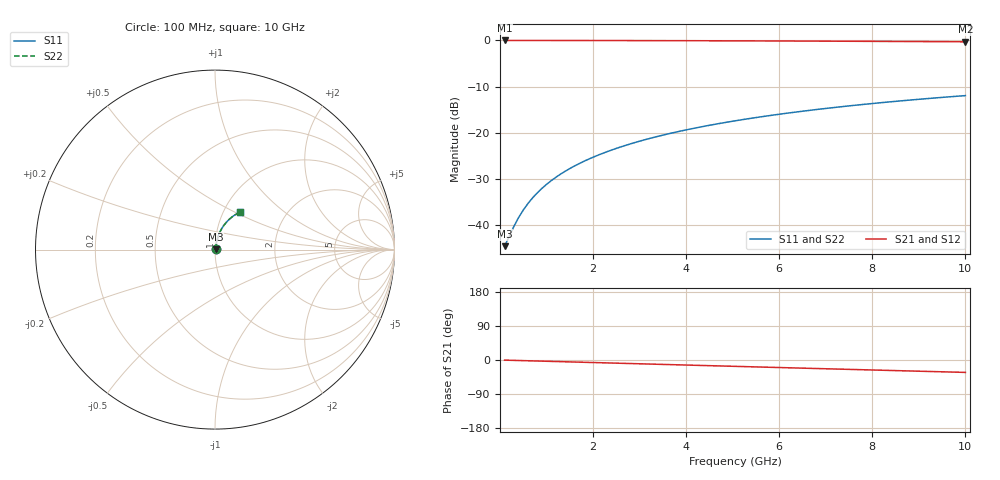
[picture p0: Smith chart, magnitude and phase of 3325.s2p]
# Hz S RI R 50.00
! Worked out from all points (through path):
!   100 points, 100 MHz to 10 GHz, reference 50 ohm
!   highest |S21| = -0.05 dB at 100 MHz (marker M1); lowest = -0.3 dB at 10 GHz (marker M2)
!   group delay of S21, straight-line fit = 9.1 ps
!   lowest |S11| = -44.5 dB at 100 MHz (marker M3), VSWR 1.01, Z = 50.5 + j0.272 ohm
!   |S11| at or under -10 dB: start of sweep to end of sweep
!   |S22| runs from -44.5 to -12.0 dB; largest |S21 - S12| = 0
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1e8  0.00532 0.00269  0.9947 -0.00579  0.9947 -0.00579  0.00532 0.00269
3e8  0.0055 0.00806  0.9944 -0.0174  0.9944 -0.0174  0.0055 0.00806
4e8  0.00563 0.0107  0.9943 -0.0231  0.9943 -0.0231  0.00563 0.0107
5e8  0.00579 0.0134  0.9941 -0.0289  0.9941 -0.0289  0.00579 0.0134
6e8  0.00598 0.0161  0.9938 -0.0347  0.9938 -0.0347  0.00598 0.0161
7e8  0.00619 0.0188  0.9936 -0.0405  0.9936 -0.0405  0.00619 0.0188
8e8  0.00644 0.0215  0.9932 -0.0463  0.9932 -0.0463  0.00644 0.0215
1e9  0.00702 0.0268  0.9925 -0.0578  0.9925 -0.0578  0.00702 0.0268
1.2e9  0.00773 0.0321  0.9915 -0.0693  0.9915 -0.0693  0.00773 0.0321
1.5e9  0.00901 0.0401  0.9899 -0.0866  0.9899 -0.0866  0.00901 0.0401
1.8e9  0.0106 0.0479  0.9878 -0.1038  0.9878 -0.1038  0.0106 0.0479
2.1e9  0.0124 0.0558  0.9854 -0.1209  0.9854 -0.1209  0.0124 0.0558
2.5e9  0.0153 0.0661  0.9816 -0.1437  0.9816 -0.1437  0.0153 0.0661
2.9e9  0.0186 0.0762  0.9773 -0.1663  0.9773 -0.1663  0.0186 0.0762
3.4e9  0.0234 0.0887  0.9709 -0.1942  0.9709 -0.1942  0.0234 0.0887
4.2e9  0.0325 0.1079  0.9588 -0.2383  0.9588 -0.2383  0.0325 0.1079
5.1e9  0.0448 0.1283  0.9424 -0.2867  0.9424 -0.2867  0.0448 0.1283
5.9e9  0.0574 0.1452  0.9255 -0.3285  0.9255 -0.3285  0.0574 0.1452
6.7e9  0.0714 0.1608  0.9065 -0.369  0.9065 -0.369  0.0714 0.1608
7.5e9  0.0866 0.175  0.8855 -0.4081  0.8855 -0.4081  0.0866 0.175
8.4e9  0.1051 0.1892  0.8599 -0.4502  0.8599 -0.4502  0.1051 0.1892
1e10  0.1408 0.2093  0.8093 -0.5201  0.8093 -0.5201  0.1408 0.2093
